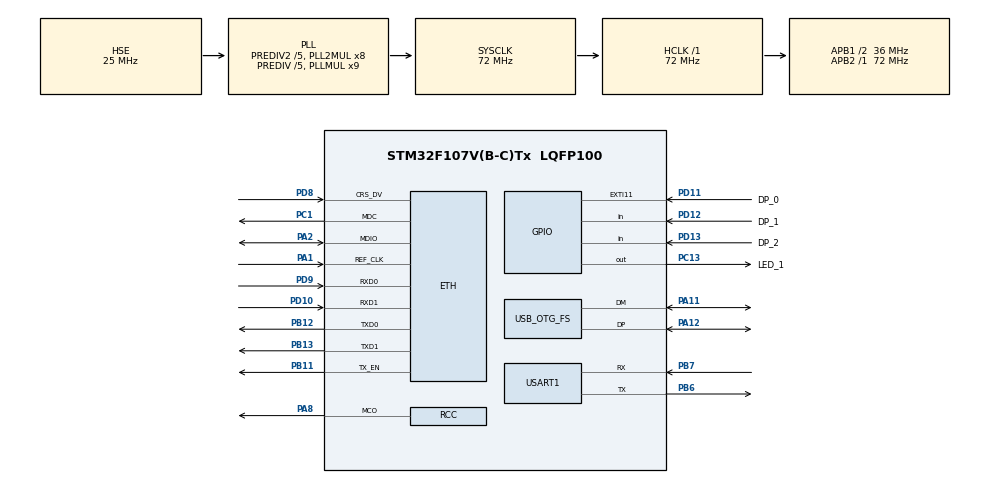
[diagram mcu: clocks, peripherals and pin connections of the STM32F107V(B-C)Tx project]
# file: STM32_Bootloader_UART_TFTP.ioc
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ETH.MediaInterface=ETH_MEDIA_INTERFACE_RMII
ETH.PHY_Name_RMII=DP83848_PHY_ADDRESS
LWIP.GATEWAY_ADDRESS=192.168.031.001
LWIP.IP_ADDRESS=192.168.031.201
LWIP.LWIP_DHCP=0
LWIP.NETMASK_ADDRESS=255.255.255.000
LWIP.Version=v2.0.3_Cube
Mcu.Family=STM32F1
Mcu.Name=STM32F107V(B-C)Tx
Mcu.Package=LQFP100
NVIC.ETH_IRQn=true\:0\:0\:false\:false\:true\:true\:true\:true
NVIC.ETH_WKUP_IRQn=true\:0\:0\:false\:false\:true\:true\:true\:true
NVIC.OTG_FS_IRQn=true\:0\:0\:false\:false\:true\:true\:true\:true
NVIC.PriorityGroup=NVIC_PRIORITYGROUP_4
NVIC.USART1_IRQn=true\:0\:0\:false\:false\:true\:true\:true\:true
OSC_IN.Mode=HSE-External-Oscillator
OSC_IN.Signal=RCC_OSC_IN
OSC_OUT.Mode=HSE-External-Oscillator
OSC_OUT.Signal=RCC_OSC_OUT
PA1.Mode=RMII
PA1.Signal=ETH_REF_CLK
PA11.Mode=Device_Only
PA11.Signal=USB_OTG_FS_DM
PA12.Mode=Device_Only
PA12.Signal=USB_OTG_FS_DP
PA13.Mode=Serial_Wire
PA13.Signal=SYS_JTMS-SWDIO
PA14.Mode=Serial_Wire
PA14.Signal=SYS_JTCK-SWCLK
PA2.Mode=RMII
PA2.Signal=ETH_MDIO
PA8.GPIO_Speed=GPIO_SPEED_FREQ_MEDIUM
PA8.Mode=Clock-out
PA8.Signal=RCC_MCO
PB11.Mode=RMII
PB11.Signal=ETH_TX_EN
PB12.Mode=RMII
PB12.Signal=ETH_TXD0
PB13.Mode=RMII
PB13.Signal=ETH_TXD1
PB6.Mode=Asynchronous
PB6.Signal=USART1_TX
PB7.Mode=Asynchronous
PB7.Signal=USART1_RX
PC1.Mode=RMII
PC1.Signal=ETH_MDC
PC13-TAMPER-RTC.GPIO_Label=LED_1
PC13-TAMPER-RTC.Signal=GPIO_Output
PD10.Mode=RMII
PD10.Signal=ETH_RXD1
PD11.GPIO_Label=DP_0
PD11.Signal=GPXTI11
PD12.GPIO_Label=DP_1
PD12.Signal=GPIO_Input
PD13.GPIO_Label=DP_2
PD13.Signal=GPIO_Input
PD8.Mode=RMII
PD8.Signal=ETH_CRS_DV
PD9.Mode=RMII
PD9.Signal=ETH_RXD0
ProjectManager.HeapSize=0x200
ProjectManager.StackSize=0x400
ProjectManager.TargetToolchain=STM32CubeIDE
RCC.AHBFreq_Value=72000000
RCC.APB1CLKDivider=RCC_HCLK_DIV2
RCC.APB1Freq_Value=36000000
RCC.APB1TimFreq_Value=72000000
RCC.APB2Freq_Value=72000000
RCC.APB2TimFreq_Value=72000000
RCC.HCLKFreq_Value=72000000
RCC.HSEDivPLL=RCC_HSE_PREDIV_DIV5
RCC.HSE_VALUE=25000000
RCC.PLL3Mul=RCC_PLLI2S_MUL10
RCC.PLLMUL=RCC_PLL_MUL9
RCC.PLLSourceVirtual=RCC_PLLSOURCE_HSE
RCC.Prediv1Source=RCC_PREDIV1_SOURCE_PLL2
RCC.Prediv2=RCC_HSE_PREDIV2_DIV5
RCC.RCC_MCOSource=RCC_MCO1SOURCE_PLL3CLK
RCC.SYSCLKFreq_VALUE=72000000
RCC.SYSCLKSource=RCC_SYSCLKSOURCE_PLLCLK
RCC.USBFreq_Value=48000000
USART1.VirtualMode=VM_ASYNC
USB_DEVICE.CLASS_NAME_FS=CDC
USB_DEVICE.VirtualMode=Cdc
USB_DEVICE.VirtualModeFS=Cdc_FS
USB_OTG_FS.VirtualMode=Device_Only
VP_LWIP_VS_Enabled.Mode=Enabled
VP_USB_DEVICE_VS_USB_DEVICE_CDC_FS.Mode=CDC_FS
board=custom

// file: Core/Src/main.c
/* USER CODE BEGIN Header */
/**
  ******************************************************************************
  * @file           : main.c
  * @brief          : Main program body
  ******************************************************************************
  * @attention
  *
  * Copyright (c) 2024 STMicroelectronics.
  * All rights reserved.
  *
  * This software is licensed under terms that can be found in the LICENSE file
  * in the root directory of this software component.
  * If no LICENSE file comes with this software, it is provided AS-IS.
  *
  ******************************************************************************
  */
/* USER CODE END Header */
#include "main.h"
#include "lwip.h"
#include "usb_device.h"

/* USER CODE BEGIN Includes */
#include "tftpserver.h"
#include "usbd_cdc_if.h"
#include <stdio.h>
#include <string.h>
#include <stdbool.h>
/* USER CODE END Includes */

/* USER CODE BEGIN PD */
#define MAX_BLOCK_SIZE          ( 1024 )                  //1KB
#define ETX_APP_START_ADDRESS   0x08020000
#define MAJOR 1
#define MINOR 0
/* USER CODE END PD */

UART_HandleTypeDef huart1;

/* USER CODE BEGIN PV */
uint8_t BL_Version[2] = { MAJOR, MINOR };
uint16_t application_size = 0;
uint16_t application_write_idx = 0;
/* USER CODE END PV */

void SystemClock_Config(void);
static void MX_GPIO_Init(void);
static void MX_USART1_UART_Init(void);
/* USER CODE BEGIN PFP */
void tftp_update();
static void Firmware_Update(void);
static void goto_application(void);
/* USER CODE END PFP */

/* USER CODE BEGIN 0 */

//led counter
uint16_t led_blink_cnt = 0;

//variables for jump
typedef  void (*pFunction)(void);
pFunction Jump_To_Application;
uint32_t JumpAddress;

/* USER CODE END 0 */

int main(void)
{

  /* MCU Configuration--------------------------------------------------------*/

  /* Reset of all peripherals, Initializes the Flash interface and the Systick. */
  HAL_Init();

  /* Configure the system clock */
  SystemClock_Config();

  /* Initialize all configured peripherals */
  MX_GPIO_Init();
  MX_USART1_UART_Init();
  MX_LWIP_Init();
  MX_USB_DEVICE_Init();
  /* USER CODE BEGIN 2 */
  HAL_Delay(4000);

  uint8_t *data = (uint8_t *)"Bootloader v1:0 Started!!!\n";
  CDC_Transmit_FS((uint8_t *)data, strlen((char *)data));
  HAL_Delay(1000);
  uint8_t *data1 = (uint8_t *)"checking user button...\r\n";
  CDC_Transmit_FS((uint8_t *)data1, strlen((char *)data1));
  HAL_Delay(1000);
  if (HAL_GPIO_ReadPin(DP_0_GPIO_Port, DP_0_Pin) == 0x00)
  {
	  uint8_t *data3 = (uint8_t *)"Update From TFTP Server\r\n";
	  CDC_Transmit_FS((uint8_t *)data3, strlen((char *)data3));
	  HAL_Delay(1000);
	  tftp_update();
	  HAL_Delay(1000);
	  uint8_t *data4 = (uint8_t *)"start tftp server...\r\n";
	  CDC_Transmit_FS((uint8_t *)data4, strlen((char *)data4));
	  IAP_tftpd_init();
	  while(1)
	  {
		  MX_LWIP_Process();
	  }
  }
  else if (HAL_GPIO_ReadPin(DP_1_GPIO_Port, DP_1_Pin) == 0x00)
		{
	  	  uint8_t *data2 = (uint8_t *)"Update From UART\r\n";
	  	  CDC_Transmit_FS((uint8_t *)data2, strlen((char *)data2));
	  	  Firmware_Update();

	  	  goto_application();
		}
  else{
	  	  goto_application();
  	  }

  /* USER CODE END 2 */

  /* Infinite loop */
  	while (1)
  		{

  }
}

void SystemClock_Config(void)
{
  RCC_OscInitTypeDef RCC_OscInitStruct = {0};
  RCC_ClkInitTypeDef RCC_ClkInitStruct = {0};
  RCC_PeriphCLKInitTypeDef PeriphClkInit = {0};

  /** Initializes the RCC Oscillators according to the specified parameters
  * in the RCC_OscInitTypeDef structure.
  */
  RCC_OscInitStruct.OscillatorType = RCC_OSCILLATORTYPE_HSE;
  RCC_OscInitStruct.HSEState = RCC_HSE_ON;
  RCC_OscInitStruct.HSEPredivValue = RCC_HSE_PREDIV_DIV5;
  RCC_OscInitStruct.HSIState = RCC_HSI_ON;
  RCC_OscInitStruct.Prediv1Source = RCC_PREDIV1_SOURCE_PLL2;
  RCC_OscInitStruct.PLL.PLLState = RCC_PLL_ON;
  RCC_OscInitStruct.PLL.PLLSource = RCC_PLLSOURCE_HSE;
  RCC_OscInitStruct.PLL.PLLMUL = RCC_PLL_MUL9;
  RCC_OscInitStruct.PLL2.PLL2State = RCC_PLL2_ON;
  RCC_OscInitStruct.PLL2.PLL2MUL = RCC_PLL2_MUL8;
  RCC_OscInitStruct.PLL2.HSEPrediv2Value = RCC_HSE_PREDIV2_DIV5;
  if (HAL_RCC_OscConfig(&RCC_OscInitStruct) != HAL_OK)
  {
    Error_Handler();
  }

  /** Initializes the CPU, AHB and APB buses clocks
  */
  RCC_ClkInitStruct.ClockType = RCC_CLOCKTYPE_HCLK|RCC_CLOCKTYPE_SYSCLK
                              |RCC_CLOCKTYPE_PCLK1|RCC_CLOCKTYPE_PCLK2;
  RCC_ClkInitStruct.SYSCLKSource = RCC_SYSCLKSOURCE_PLLCLK;
  RCC_ClkInitStruct.AHBCLKDivider = RCC_SYSCLK_DIV1;
  RCC_ClkInitStruct.APB1CLKDivider = RCC_HCLK_DIV2;
  RCC_ClkInitStruct.APB2CLKDivider = RCC_HCLK_DIV1;

  if (HAL_RCC_ClockConfig(&RCC_ClkInitStruct, FLASH_LATENCY_2) != HAL_OK)
  {
    Error_Handler();
  }
  PeriphClkInit.PeriphClockSelection = RCC_PERIPHCLK_USB;
  PeriphClkInit.UsbClockSelection = RCC_USBCLKSOURCE_PLL_DIV3;
  PeriphClkInit.PLLI2S.PLLI2SMUL = RCC_PLLI2S_MUL10;
  PeriphClkInit.PLLI2S.HSEPrediv2Value = RCC_HSE_PREDIV2_DIV5;
  if (HAL_RCCEx_PeriphCLKConfig(&PeriphClkInit) != HAL_OK)
  {
    Error_Handler();
  }
  HAL_RCC_MCOConfig(RCC_MCO, RCC_MCO1SOURCE_PLL3CLK, RCC_MCODIV_1);

  /** Configure the Systick interrupt time
  */
  __HAL_RCC_HSE_PREDIV2_CONFIG(RCC_HSE_PREDIV2_DIV5);

  /** Configure the Systick interrupt time
  */
  __HAL_RCC_PLLI2S_CONFIG(RCC_PLLI2S_MUL10);

  /** Configure the Systick interrupt time
  */
  __HAL_RCC_PLLI2S_ENABLE();
}

static void MX_USART1_UART_Init(void)
{

  huart1.Instance = USART1;
  huart1.Init.BaudRate = 115200;
  huart1.Init.WordLength = UART_WORDLENGTH_8B;
  huart1.Init.StopBits = UART_STOPBITS_1;
  huart1.Init.Parity = UART_PARITY_NONE;
  huart1.Init.Mode = UART_MODE_TX_RX;
  huart1.Init.HwFlowCtl = UART_HWCONTROL_NONE;
  huart1.Init.OverSampling = UART_OVERSAMPLING_16;
  if (HAL_UART_Init(&huart1) != HAL_OK)
  {
    Error_Handler();
  }

}

static void MX_GPIO_Init(void)
{
  GPIO_InitTypeDef GPIO_InitStruct = {0};

  /* GPIO Ports Clock Enable */
  __HAL_RCC_GPIOC_CLK_ENABLE();
  __HAL_RCC_GPIOA_CLK_ENABLE();
  __HAL_RCC_GPIOB_CLK_ENABLE();
  __HAL_RCC_GPIOD_CLK_ENABLE();

  /*Configure GPIO pin Output Level */
  HAL_GPIO_WritePin(LED_1_GPIO_Port, LED_1_Pin, GPIO_PIN_RESET);

  /*Configure GPIO pin : LED_1_Pin */
  GPIO_InitStruct.Pin = LED_1_Pin;
  GPIO_InitStruct.Mode = GPIO_MODE_OUTPUT_PP;
  GPIO_InitStruct.Pull = GPIO_NOPULL;
  GPIO_InitStruct.Speed = GPIO_SPEED_FREQ_LOW;
  HAL_GPIO_Init(LED_1_GPIO_Port, &GPIO_InitStruct);

  /*Configure GPIO pin : DP_0_Pin */
  GPIO_InitStruct.Pin = DP_0_Pin;
  GPIO_InitStruct.Mode = GPIO_MODE_IT_RISING;
  GPIO_InitStruct.Pull = GPIO_NOPULL;
  HAL_GPIO_Init(DP_0_GPIO_Port, &GPIO_InitStruct);

  /*Configure GPIO pins : DP_1_Pin DP_2_Pin */
  GPIO_InitStruct.Pin = DP_1_Pin|DP_2_Pin;
  GPIO_InitStruct.Mode = GPIO_MODE_INPUT;
  GPIO_InitStruct.Pull = GPIO_NOPULL;
  HAL_GPIO_Init(GPIOD, &GPIO_InitStruct);

  /*Configure GPIO pin : PA8 */
  GPIO_InitStruct.Pin = GPIO_PIN_8;
  GPIO_InitStruct.Mode = GPIO_MODE_AF_PP;
  GPIO_InitStruct.Speed = GPIO_SPEED_FREQ_MEDIUM;
  HAL_GPIO_Init(GPIOA, &GPIO_InitStruct);

}

/* USER CODE BEGIN 4 */

void tftp_update()
{
	if (HAL_GPIO_ReadPin(DP_2_GPIO_Port, DP_2_Pin) == 0x01)
	{
		/* Check if valid stack address (RAM address) then jump to user application */
		if (((*(__IO uint32_t*)USER_FLASH_FIRST_PAGE_ADDRESS) & 0x2FFF0000 ) == 0x20010000)
		{
			uint8_t *data = (uint8_t *)"valid stack address! jump to application...\r\n";
			CDC_Transmit_FS((uint8_t *)data, strlen((char *)data));

			/* Jump to user application */
			JumpAddress = *(__IO uint32_t*) (USER_FLASH_FIRST_PAGE_ADDRESS + 4);
			Jump_To_Application = (pFunction) JumpAddress;
			/* Initialize user application's Stack Pointer */
			HAL_RCC_DeInit();
			HAL_DeInit();
			__set_MSP(*(__IO uint32_t*) USER_FLASH_FIRST_PAGE_ADDRESS);
			SysTick->CTRL = 0;
			SysTick->LOAD = 0;
			SysTick->VAL = 0;
			Jump_To_Application();
			/* do nothing */
			while(1);
		}
		else
		{
			uint8_t *data1 = (uint8_t *)"Invalid stack address! Start TFTP Server\r\n";
			CDC_Transmit_FS((uint8_t *)data1, strlen((char *)data1));
		}
	}
}

static int UART_Write_Loop( void )
{
  char tx = 'g';
  char rx = '0';
  HAL_StatusTypeDef ex;
  int ret = 0;
  int count = 0;
  while(1)
  {
	  HAL_UART_Transmit(&huart1, (uint8_t *)&tx, 1, HAL_MAX_DELAY);
	  ex = HAL_UART_Receive(&huart1, (uint8_t *)&rx, 1, 10);
	  if( ( ex == HAL_OK ) && ( rx == 'r' ) )
	  {
		  uint8_t *data = (uint8_t *)"Firmware Update Started\r\n";
		  CDC_Transmit_FS((uint8_t *)data, strlen((char *)data));
		  ret = 1;
		  break;
	  }
	  if( count == 100 )
	  {
		  uint8_t *data = (uint8_t *)"No Data Received for Firmware Update\r\n";
		  CDC_Transmit_FS((uint8_t *)data, strlen((char *)data));
		  break;
	  }
	  count++;
	  HAL_Delay(20);              //20ms delay
  }
  return ret;
}

/**
  * @brief Write data to the Application's actual flash location.
  * @param data data to be written
  * @param data_len data length
  * @is_first_block true - if this is first block, false - not first block
  * @retval HAL_StatusTypeDef
  */
static HAL_StatusTypeDef write_data_to_flash_app( uint8_t *data,
                                        uint16_t data_len, bool is_first_block )
{
  HAL_StatusTypeDef ret;
  do
  {
    HAL_FLASH_Unlock();
    if( is_first_block )
    {
      uint8_t *data = (uint8_t *)"Erasing the Flash memory...\r\n";
      CDC_Transmit_FS((uint8_t *)data, strlen((char *)data));
      FLASH_EraseInitTypeDef EraseInitStruct;
      uint32_t SectorError;
      EraseInitStruct.TypeErase     = FLASH_TYPEERASE_PAGES;
      EraseInitStruct.PageAddress   = ETX_APP_START_ADDRESS;
      EraseInitStruct.NbPages       = 64;
      HAL_FLASHEx_Erase( &EraseInitStruct, &SectorError );
      application_write_idx = 0;
    }

    for(int i = 0; i < data_len/2; i++)
    {
      uint16_t halfword_data = data[i * 2] | (data[i * 2 + 1] << 8);
      ret = HAL_FLASH_Program( FLASH_TYPEPROGRAM_HALFWORD,
                               (ETX_APP_START_ADDRESS + application_write_idx ),
                               halfword_data
                             );
      if( ret == HAL_OK )
      {
        application_write_idx += 2;
      }
    }
    if( ret != HAL_OK )
    {
      break;
    }
    HAL_FLASH_Lock();
  }while( false );
  return ret;
}

/**
  * @brief Check for Firmware Update and update the Firmware
  * @retval None
  */
static void Firmware_Update(void)
{
  uint8_t xx,yy;
  uint8_t x = 'x';
  uint8_t y = 'y';
  HAL_StatusTypeDef ex = HAL_OK;
  uint16_t current_app_size = 0;
  uint16_t i = 0;
  uint8_t block[MAX_BLOCK_SIZE] = { 0 };

  do
  {
    if( UART_Write_Loop() != 0 )
    {
      HAL_UART_Transmit(&huart1, &y, 1, HAL_MAX_DELAY);
      ex = HAL_UART_Receive(&huart1, &yy, 1, 5000);

      HAL_UART_Transmit(&huart1, &x, 1, HAL_MAX_DELAY);
      ex = HAL_UART_Receive(&huart1, &xx, 1, 5000);

      application_size = yy | (xx << 8);
      uint8_t buffer[50]; // Buffer to hold the formatted string
      sprintf((char *)buffer, "Application Size = %d bytes\r\n", application_size);
      CDC_Transmit_FS(buffer, strlen((char *)buffer));
      while(1)
      {
        if( ( i == MAX_BLOCK_SIZE ) || ( current_app_size >= application_size) )
        {
          uint8_t buffer[50]; // Buffer to hold the formatted string
          sprintf((char *)buffer, "Received Block[%d]\r\n", current_app_size / MAX_BLOCK_SIZE);
          CDC_Transmit_FS(buffer, strlen((char *)buffer));

          ex = write_data_to_flash_app(block, MAX_BLOCK_SIZE, (current_app_size <= MAX_BLOCK_SIZE) );

          if( ex != HAL_OK )
          {
            break;
          }

          memset(block, 0,MAX_BLOCK_SIZE);
          i = 0;
        }

        if( current_app_size >= application_size)
        {
          ex = HAL_OK;
          break;
        }

        HAL_UART_Transmit(&huart1, &y, 1, HAL_MAX_DELAY);
        ex = HAL_UART_Receive(&huart1, &yy, 1, 5000);

        HAL_UART_Transmit(&huart1, &x, 1, HAL_MAX_DELAY);
        ex = HAL_UART_Receive(&huart1, &xx, 1, 5000);

        block[i++] = yy;
        block[i++] = xx;
        current_app_size += 2;
      }
    }
  }
  while( false );

  if( ex != HAL_OK )
  {
    while(1);
  }
}

static void goto_application(void)
{

	if (((*(__IO uint32_t*)USER_FLASH_FIRST_PAGE_ADDRESS) & 0x2FFF0000 ) == 0x20010000)
	{
		uint8_t *data = (uint8_t *)"Gonna Jump to Application...\n";
		CDC_Transmit_FS((uint8_t *)data, strlen((char *)data));

		void (*app_reset_handler)(void) = (void*)(*((volatile uint32_t*) (0x08020000 + 4U)));
		HAL_GPIO_WritePin(LED_1_GPIO_Port, LED_1_Pin, GPIO_PIN_RESET );    //Green LED OFF

		/* Reset the Clock */
		HAL_RCC_DeInit();
		HAL_DeInit();
		__set_MSP(*(volatile uint32_t*) 0x08020000);
		SysTick->CTRL = 0;
		SysTick->LOAD = 0;
		SysTick->VAL = 0;

		/* Jump to application */
		app_reset_handler();    //call the app reset handler
	}
}
/* USER CODE END 4 */

void Error_Handler(void)
{
  __disable_irq();
  while (1)
  {
  }
}
